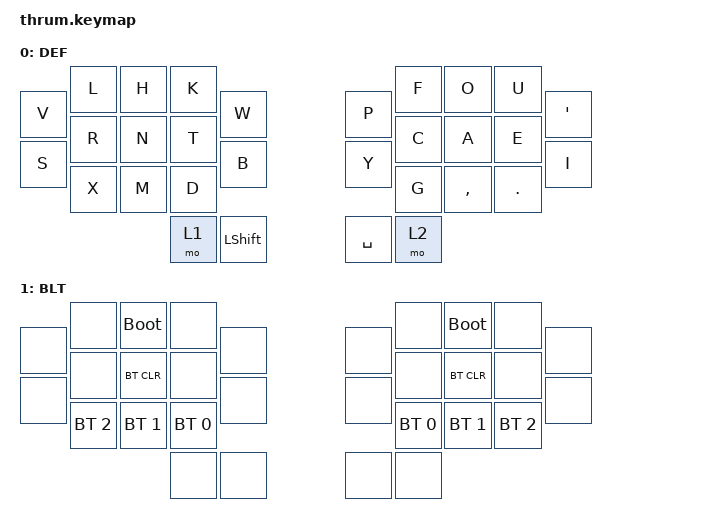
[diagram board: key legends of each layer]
#include <behaviors.dtsi>
#include <dt-bindings/zmk/bt.h>
/ {
    keymap {
        compatible = "zmk,keymap";

        def {
            display-name = "DEF";
            bindings = <
                &kp V   &kp L   &kp H   &kp K   &kp W		&kp P       &kp F   &kp O       &kp U   &kp SQT
                &kp S   &kp R   &kp N   &kp T   &kp B 		&kp Y       &kp C   &kp A       &kp E   &kp I
                        &kp X   &kp M   &kp D   						&kp G   &kp COMMA   &kp DOT
                                        &mo 1	&kp LSHFT       		&kp SPACE   &mo 2
            >;
        };

        blt {
            display-name = "BLT";
            bindings = <
                &none   &none   &bootloader &none  &none   &none   &none  &bootloader &none   &none
                &none   &none   &bt BT_CLR  &none           &none	&none   &none           &bt BT_CLR    &none   &none
                        &bt BT_SEL 2   &bt BT_SEL 1   &bt BT_SEL 0  &bt BT_SEL 0           &bt BT_SEL 1    &bt BT_SEL 2 
                                               &none           &none		&none           &none
            >;
        };

        nav {
            status = "reserved";
        };

        sym {
            status = "reserved";
        };

        num {
            status = "reserved";
        };
        pad {
            status = "reserved";
        };
           
        func {
            status = "reserved";
        };
            
        macro {
            status = "reserved";
        };
    };
};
